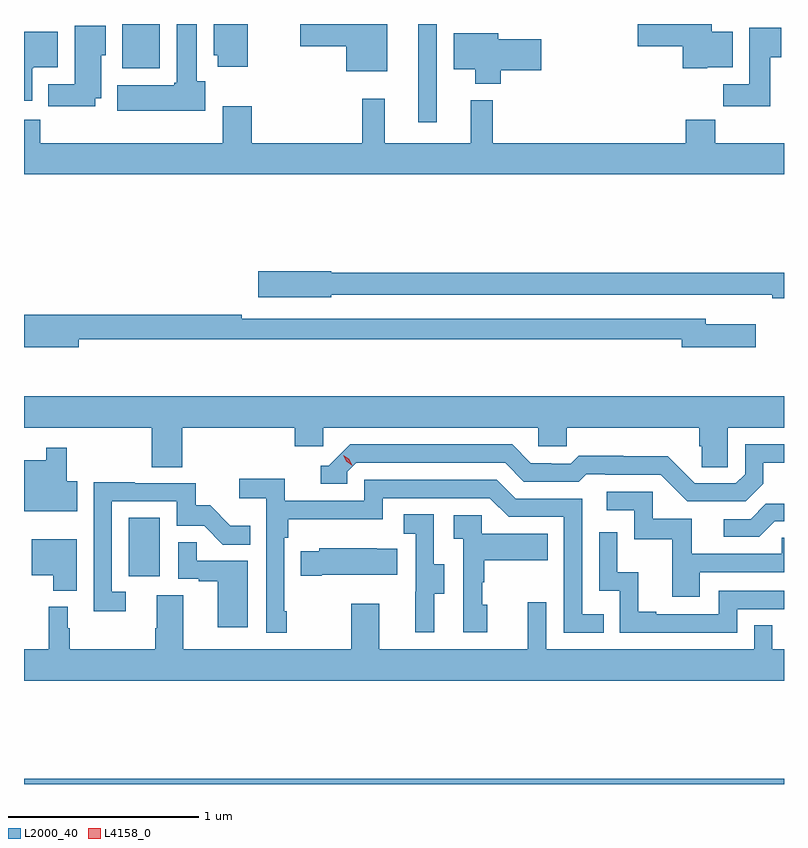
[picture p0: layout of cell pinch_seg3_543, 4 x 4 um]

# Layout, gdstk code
import gdstk
lib = gdstk.Library(unit=1e-6, precision=1e-09)
def R(c, l, rs):  # rectangles x0, y0, x1, y1
    for r in rs: c.add(gdstk.rectangle(r[:2], r[2:], *l))
def P(c, l, *ps):  # polygons
    for p in ps: c.add(gdstk.Polygon(p, *l))
L2000_40 = (2000, 40)
L4158_0 = (4158, 0)

pinch_seg3_543 = lib.new_cell('pinch_seg3_543')
R(pinch_seg3_543, L2000_40, [(1117.593,691.048,1121.593,691.076), (1118.144,692.142,1118.308,692.449), (1119.668,694.53,1119.765,695.048), (1118.111,694.814,1118.308,695.048)])
P(pinch_seg3_543, L2000_40, [(1118.77,695.048),(1118.591,695.048),(1118.591,694.884),(1118.612,694.884),(1118.612,694.824),(1118.77,694.824)],
  [(1118.548,694.746),(1118.503,694.746),(1118.503,695.048),(1118.396,695.048),(1118.396,694.74),(1118.383,694.74),(1118.383,694.726),(1118.084,694.726),(1118.084,694.592),(1118.548,694.592)],
  [(1119.505,695.048),(1119.048,695.048),(1119.048,694.931),(1119.29,694.931),(1119.29,694.799),(1119.505,694.799)],
  [(1121.19,694.82),(1121.323,694.82),(1121.323,695.008),(1121.212,695.008),(1121.212,695.048),(1120.824,695.048),(1120.824,694.931),(1121.06,694.931),(1121.06,694.814),(1121.19,694.814)],
  [(1117.969,694.658),(1117.999,694.658),(1117.999,694.884),(1118.023,694.884),(1118.023,695.038),(1117.859,695.038),(1117.859,694.732),(1117.721,694.732),(1117.721,694.614),(1117.969,694.614)],
  [(1121.521,694.873),(1121.578,694.873),(1121.578,695.029),(1121.411,695.029),(1121.411,694.732),(1121.272,694.732),(1121.272,694.614),(1121.521,694.614)],
  [(1117.636,694.814),(1117.642,694.814),(1117.642,694.82),(1117.771,694.82),(1117.771,695.008),(1117.593,695.008),(1117.593,694.644),(1117.636,694.644)],
  [(1120.103,694.804),(1120.315,694.804),(1120.315,694.969),(1120.09,694.969),(1120.09,694.999),(1119.854,694.999),(1119.854,694.811),(1119.968,694.811),(1119.968,694.733),(1120.103,694.733)],
  [(1121.593,694.42),(1121.231,694.42),(1121.231,694.544),(1121.075,694.544),(1121.075,694.42),(1120.061,694.42),(1120.061,694.648),(1119.944,694.648),(1119.944,694.42),(1119.491,694.42),(1119.491,694.654),(1119.373,694.654),(1119.373,694.42),(1118.792,694.42),(1118.792,694.615),(1118.639,694.615),(1118.639,694.42),(1117.679,694.42),(1117.679,694.544),(1117.593,694.544),(1117.593,694.256),(1121.593,694.256)],
  [(1121.593,693.74),(1119.21,693.74),(1119.21,693.746),(1118.826,693.746),(1118.826,693.611),(1119.21,693.611),(1119.21,693.624),(1121.278,693.624),(1121.278,693.623),(1121.53,693.623),(1121.53,693.604),(1121.593,693.604)],
  [(1117.882,693.39),(1121.054,693.39),(1121.054,693.347),(1121.443,693.347),(1121.443,693.469),(1121.182,693.469),(1121.182,693.498),(1118.738,693.498),(1118.738,693.518),(1117.593,693.518),(1117.593,693.347),(1117.882,693.347)],
  [(1118.426,692.924),(1119.017,692.924),(1119.017,692.826),(1119.168,692.826),(1119.168,692.924),(1120.299,692.924),(1120.299,692.826),(1120.449,692.826),(1120.449,692.924),(1121.147,692.924),(1121.147,692.826),(1121.161,692.826),(1121.161,692.716),(1121.298,692.716),(1121.298,692.924),(1121.593,692.924),(1121.593,693.088),(1117.593,693.088),(1117.593,692.924),(1118.266,692.924),(1118.266,692.716),(1118.426,692.716)],
  [(1121.485,692.629),(1121.485,692.739),(1121.593,692.739),(1121.593,692.835),(1121.388,692.835),(1121.388,692.679),(1121.34,692.631),(1121.124,692.631),(1120.982,692.773),(1120.746,692.773),(1120.746,692.776),(1120.513,692.776),(1120.471,692.733),(1120.368,692.733),(1120.368,692.736),(1120.261,692.736),(1120.162,692.835),(1119.309,692.835),(1119.198,692.724),(1119.155,692.724),(1119.155,692.628),(1119.294,692.628),(1119.294,692.691),(1119.342,692.739),(1120.125,692.739),(1120.224,692.64),(1120.513,692.64),(1120.552,692.679),(1120.651,692.679),(1120.651,692.676),(1120.944,692.676),(1121.085,692.535),(1121.391,692.535)],
  [(1117.873,692.641),(1117.819,692.641),(1117.819,692.818),(1117.71,692.818),(1117.71,692.752),(1117.593,692.752),(1117.593,692.483),(1117.873,692.483)],
  [(1118.977,691.957),(1118.964,691.957),(1118.964,692.345),(1118.984,692.345),(1118.984,692.441),(1119.48,692.441),(1119.48,692.553),(1120.044,692.553),(1120.143,692.454),(1120.434,692.454),(1120.434,691.845),(1120.643,691.845),(1120.643,691.941),(1120.53,691.941),(1120.53,692.55),(1120.18,692.55),(1120.081,692.649),(1119.384,692.649),(1119.384,692.538),(1118.966,692.538),(1118.966,692.654),(1118.727,692.654),(1118.727,692.552),(1118.868,692.552),(1118.868,691.845),(1118.977,691.845)],
  [(1118.128,692.061),(1118.055,692.061),(1118.055,692.535),(1118.397,692.535),(1118.397,692.406),(1118.541,692.406),(1118.639,692.308),(1118.783,692.308),(1118.783,692.407),(1118.679,692.407),(1118.572,692.514),(1118.496,692.514),(1118.496,692.631),(1118.177,692.631),(1118.177,692.636),(1117.959,692.636),(1117.959,691.956),(1118.128,691.956)],
  [(1121.149,692.163),(1121.593,692.163),(1121.593,692.343),(1121.581,692.343),(1121.581,692.259),(1121.107,692.259),(1121.107,692.445),(1120.902,692.445),(1120.902,692.586),(1120.659,692.586),(1120.659,692.49),(1120.806,692.49),(1120.806,692.337),(1121.005,692.337),(1121.005,692.034),(1121.149,692.034)],
  [(1121.545,692.43),(1121.593,692.43),(1121.593,692.522),(1121.498,692.522),(1121.418,692.442),(1121.277,692.442),(1121.277,692.349),(1121.464,692.349)],
  [(1119.751,692.05),(1119.805,692.05),(1119.805,692.205),(1119.75,692.205),(1119.75,692.468),(1119.591,692.468),(1119.591,692.365),(1119.654,692.365),(1119.654,692.061),(1119.653,692.061),(1119.653,691.848),(1119.751,691.848)],
  [(1120.03,691.992),(1120.005,691.992),(1120.005,692.111),(1120.015,692.111),(1120.015,692.225),(1120.349,692.225),(1120.349,692.365),(1120.002,692.365),(1120.002,692.463),(1119.855,692.463),(1119.855,692.339),(1119.906,692.339),(1119.906,691.848),(1120.03,691.848)],
  [(1121.346,691.968),(1121.593,691.968),(1121.593,692.064),(1121.25,692.064),(1121.25,691.941),(1120.921,691.941),(1120.921,691.954),(1120.826,691.954),(1120.826,692.162),(1120.716,692.162),(1120.716,692.374),(1120.62,692.374),(1120.62,692.064),(1120.728,692.064),(1120.728,691.845),(1121.346,691.845)],
  [(1117.87,692.335),(1117.634,692.335),(1117.634,692.147),(1117.748,692.147),(1117.748,692.066),(1117.87,692.066)],
  [(1118.77,692.223),(1118.501,692.223),(1118.501,692.321),(1118.406,692.321),(1118.406,692.127),(1118.513,692.127),(1118.513,692.115),(1118.612,692.115),(1118.612,691.872),(1118.77,691.872)],
  [(1119.16,692.15),(1119.557,692.15),(1119.557,692.287),(1119.449,692.287),(1119.449,692.29),(1119.147,692.29),(1119.147,692.272),(1119.049,692.272),(1119.049,692.143),(1119.16,692.143)],
  [(1121.593,691.756),(1121.532,691.756),(1121.532,691.883),(1121.436,691.883),(1121.436,691.756),(1120.341,691.756),(1120.341,692.005),(1120.244,692.005),(1120.244,691.756),(1119.463,691.756),(1119.463,691.996),(1119.316,691.996),(1119.316,691.756),(1118.431,691.756),(1118.431,692.042),(1118.291,692.042),(1118.291,691.868),(1118.284,691.868),(1118.284,691.756),(1117.834,691.756),(1117.834,691.868),(1117.822,691.868),(1117.822,691.981),(1117.724,691.981),(1117.724,691.756),(1117.593,691.756),(1117.593,691.592),(1121.593,691.592)])
P(pinch_seg3_543, L4158_0, [(1119.319,692.726),(1119.288,692.746),(1119.272,692.778),(1119.272,692.779),(1119.272,692.779),(1119.303,692.759),(1119.32,692.726),(1119.32,692.726)])

lib.write_gds('pinch_seg3_543.gds')
